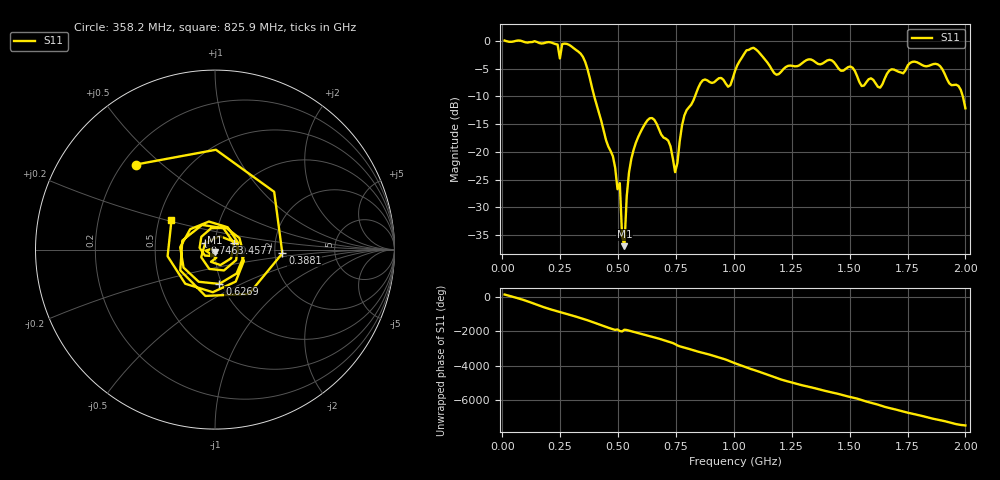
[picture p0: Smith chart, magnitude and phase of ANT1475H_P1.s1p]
!Created with skrf (http://scikit-rf.org).
# Hz S RI R 50.0
!freq ReS11 ImS11
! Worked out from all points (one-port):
!   201 points, 10 MHz to 2 GHz, reference 50 ohm
!   lowest |S11| = -37.0 dB at 527.4 MHz (marker M1), VSWR 1.03, Z = 49.8 - j1.4 ohm
!   |S11| at or under -10 dB: 397.2 MHz to 832 MHz (434.8 MHz wide, 70.7 % of centre); 1.989 GHz to end of sweep
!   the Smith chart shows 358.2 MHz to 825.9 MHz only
!   S11 on the Smith chart (normalised r, x): 358.2 MHz: 0.25, +0.41; 388.1 MHz: 2.20, -0.11; 457.8 MHz: 1.23, +0.09; 626.9 MHz: 0.97, -0.39; 746.3 MHz: 0.89, +0.07; 825.9 MHz: 0.58, +0.21
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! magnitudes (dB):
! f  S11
! 10 MHz  0.1
! 248.8 MHz  -3.2
! 258.8 MHz  -0.5
! 358.2 MHz  -3.8
! 388.1 MHz  -8.5
! 457.8 MHz  -19.0
! 497.6 MHz  -26.7
! 507.5 MHz  -25.6
! 517.5 MHz  -35.2
! 527.4 MHz  -37.0
! 537.4 MHz  -28.0
! 557.2 MHz  -21.3
! 626.9 MHz  -14.3
! 716.5 MHz  -18.0
! 746.3 MHz  -23.7
! 756.2 MHz  -22.0
! 786.1 MHz  -13.5
! 825.9 MHz  -10.7
! 865.7 MHz  -7.1
! 1.005 GHz  -5.4
! 1.085 GHz  -1.2
! 1.184 GHz  -6.1
! 1.254 GHz  -4.5
! 1.502 GHz  -4.6
! 1.632 GHz  -8.4
! 1.751 GHz  -4.4
! 1.881 GHz  -4.2
! 2 GHz  -12.1
